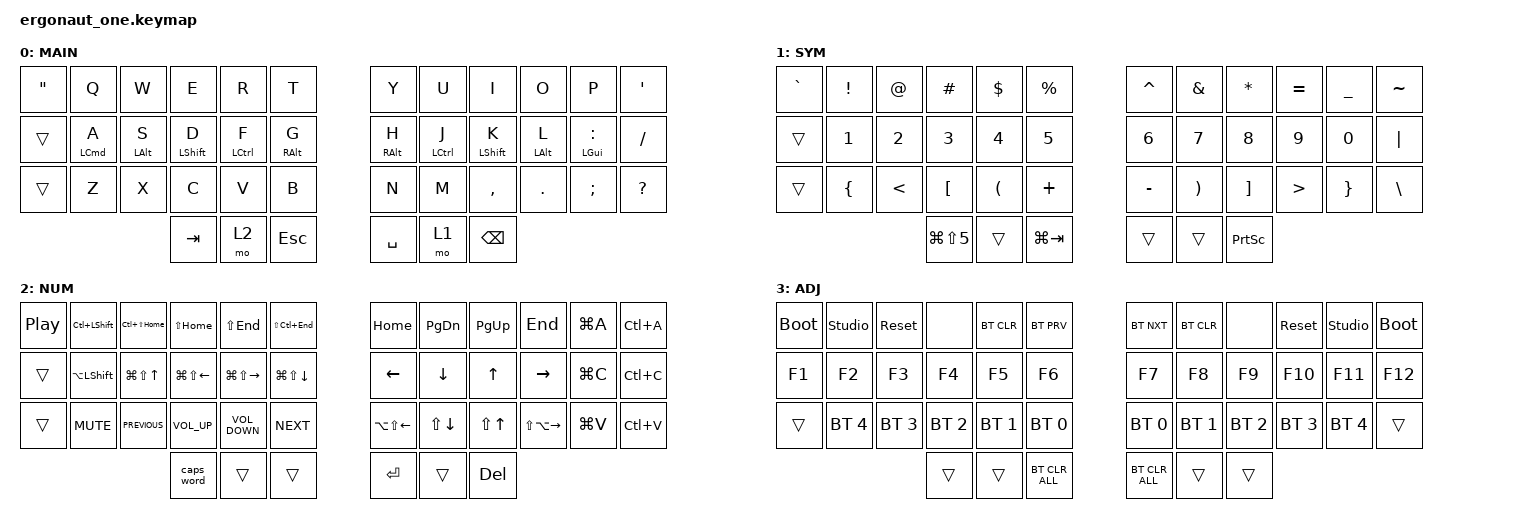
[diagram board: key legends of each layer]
#include <behaviors.dtsi>
#include <dt-bindings/zmk/bt.h>
#include <dt-bindings/zmk/keys.h>

#define DEF 0
#define LWR 1
#define RSE 2
#define ADJ 3

&lt { quick-tap-ms = <200>; };

&mt { quick-tap-ms = <200>; };

/ {
    conditional_layers {
        compatible = "zmk,conditional-layers";

        tri-layer {
            if-layers = <1 2>;
            then-layer = <3>;
        };
    };

    combos { compatible = "zmk,combos"; };

    behaviors {
        hml: homewrow_mods_left {
            compatible = "zmk,behavior-hold-tap";
            label = "HOMEROW_MODS_LEFT_HAND";
            bindings = <&kp>, <&kp>;

            #binding-cells = <2>;
            tapping-term-ms = <300>;
            hold-trigger-key-positions = <39 40 41 6 7 8 9 10 11 18 19 20 21 22 23 30 31 32 33 34 35>;
            hold-trigger-on-release;
            flavor = "balanced";
            quick-tap-ms = <175>;
            require-prior-idle-ms = <150>;
        };

        hmr: homewrow_mods_right {
            compatible = "zmk,behavior-hold-tap";
            label = "HOMEROW_MODS_RIGHT_HAND";
            bindings = <&kp>, <&kp>;

            #binding-cells = <2>;
            tapping-term-ms = <300>;
            hold-trigger-key-positions = <0 1 2 3 4 5 12 13 14 15 16 17 24 25 26 27 28 29 36 37 38>;
            hold-trigger-on-release;
            quick-tap-ms = <175>;
            require-prior-idle-ms = <150>;
            flavor = "balanced";
        };
    };

    keymap {
        compatible = "zmk,keymap";

        default_layer {
            display-name = "MAIN";
            bindings = <
&kp DQT  &kp Q                &kp W            &kp E              &kp R         &kp T             &kp Y             &kp U         &kp I              &kp O            &kp P                &kp SQT
&trans   &hml LEFT_COMMAND A  &hml LEFT_ALT S  &hml LEFT_SHIFT D  &hml LCTRL F  &hml RIGHT_ALT G  &hmr RIGHT_ALT H  &hmr LCTRL J  &hmr LEFT_SHIFT K  &hmr LEFT_ALT L  &hmr LEFT_GUI COLON  &kp SLASH
&trans   &kp Z                &kp X            &kp C              &kp V         &kp B             &kp N             &kp M         &kp COMMA          &kp DOT          &kp SEMI             &kp QUESTION
                                               &kp TAB            &mo 2         &kp ESCAPE        &kp SPACE         &mo 1         &kp BACKSPACE
            >;
        };

        lower_layer {
            display-name = "SYM";
            bindings = <
&kp GRAVE  &kp EXCL        &kp AT         &kp HASH          &kp DOLLAR            &kp PRCNT     &kp CARET     &kp AMPS               &kp STAR           &kp EQUAL         &kp UNDER        &kp TILDE
&trans     &kp NUMBER_1    &kp NUMBER_2   &kp NUMBER_3      &kp NUMBER_4          &kp NUMBER_5  &kp NUMBER_6  &kp NUMBER_7           &kp NUMBER_8       &kp NUMBER_9      &kp NUMBER_0     &kp PIPE
&trans     &kp LEFT_BRACE  &kp LESS_THAN  &kp LEFT_BRACKET  &kp LEFT_PARENTHESIS  &kp PLUS      &kp MINUS     &kp RIGHT_PARENTHESIS  &kp RIGHT_BRACKET  &kp GREATER_THAN  &kp RIGHT_BRACE  &kp BACKSLASH
                                          &kp LG(LS(N5))    &trans                &kp LG(TAB)   &trans        &trans                 &kp PRINTSCREEN
            >;
        };

        raise_layer {
            display-name = "NUM";
            bindings = <
&kp C_PLAY_PAUSE  &kp LC(LEFT_SHIFT)  &kp LC(LS(HOME))      &kp LS(HOME)            &kp LS(END)              &kp LS(LC(END))         &kp HOME                &kp PAGE_DOWN       &kp PAGE_UP       &kp END                  &kp LG(A)  &kp LC(A)
&trans            &kp LA(LEFT_SHIFT)  &kp LG(LS(UP_ARROW))  &kp LG(LS(LEFT_ARROW))  &kp LG(LS(RIGHT_ARROW))  &kp LG(LS(DOWN_ARROW))  &kp LEFT_ARROW          &kp DOWN_ARROW      &kp UP_ARROW      &kp RIGHT_ARROW          &kp LG(C)  &kp LC(C)
&trans            &kp C_MUTE          &kp C_PREVIOUS        &kp C_VOLUME_UP         &kp C_VOLUME_DOWN        &kp C_NEXT              &kp LA(LS(LEFT_ARROW))  &kp LS(DOWN_ARROW)  &kp LS(UP_ARROW)  &kp LS(LA(RIGHT_ARROW))  &kp LG(V)  &kp LC(V)
                                                            &caps_word              &trans                   &trans                  &kp ENTER               &trans              &kp DELETE
            >;
        };

        adjust_layer {
            display-name = "ADJ";
            bindings = <
&bootloader  &studio_unlock  &sys_reset    &none         &bt BT_CLR    &bt BT_PRV      &bt BT_NXT      &bt BT_CLR    &none         &sys_reset    &studio_unlock  &bootloader
&kp F1       &kp F2          &kp F3        &kp F4        &kp F5        &kp F6          &kp F7          &kp F8        &kp F9        &kp F10       &kp F11         &kp F12
&trans       &bt BT_SEL 4    &bt BT_SEL 3  &bt BT_SEL 2  &bt BT_SEL 1  &bt BT_SEL 0    &bt BT_SEL 0    &bt BT_SEL 1  &bt BT_SEL 2  &bt BT_SEL 3  &bt BT_SEL 4    &trans
                                           &trans        &trans        &bt BT_CLR_ALL  &bt BT_CLR_ALL  &trans        &trans
            >;
        };
    };
};
